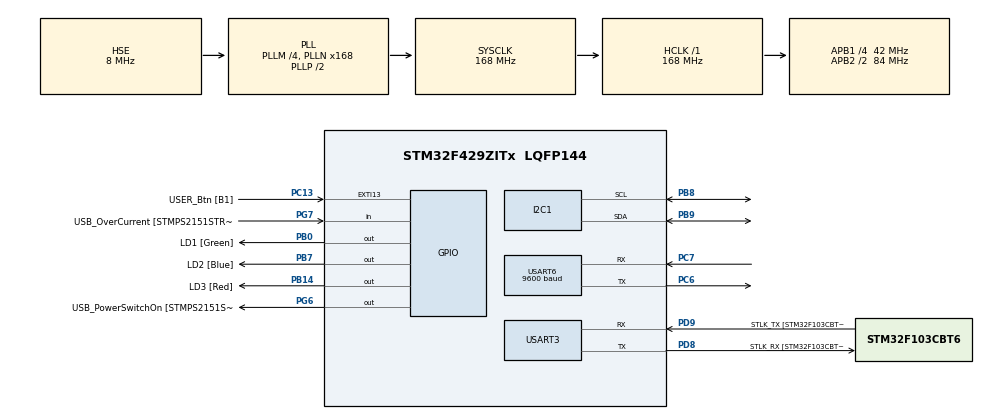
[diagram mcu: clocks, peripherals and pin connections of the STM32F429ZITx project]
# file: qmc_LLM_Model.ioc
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FREERTOS.Queues01=uartQueue01,16,uint16_t,0,Dynamic,NULL,NULL
FREERTOS.Tasks01=qmcTask_Init,24,128,qmcTask,Default,NULL,Dynamic,NULL,NULL;BTTask_Init,24,128,BTTask,Default,NULL,Dynamic,NULL,NULL
Mcu.Family=STM32F4
Mcu.Name=STM32F429ZITx
Mcu.Package=LQFP144
NVIC.I2C1_ER_IRQn=true\:5\:0\:false\:false\:true\:true\:true\:true\:true
NVIC.I2C1_EV_IRQn=true\:5\:0\:false\:false\:true\:true\:true\:true\:true
NVIC.PriorityGroup=NVIC_PRIORITYGROUP_4
NVIC.USART6_IRQn=true\:5\:0\:false\:false\:true\:true\:true\:true\:true
PA13.GPIO_Label=TMS
PA13.Mode=Serial_Wire
PA13.Signal=SYS_JTMS-SWDIO
PA14.GPIO_Label=TCK
PA14.Mode=Serial_Wire
PA14.Signal=SYS_JTCK-SWCLK
PB0.GPIO_Label=LD1 [Green]
PB0.Signal=GPIO_Output
PB13.GPIO_Label=RMII_TXD1 [LAN8742A-CZ-TR_TXD1]
PB13.Signal=ETH_TXD1
PB14.GPIO_Label=LD3 [Red]
PB14.Signal=GPIO_Output
PB7.GPIO_Label=LD2 [Blue]
PB7.Signal=GPIO_Output
PB8.Mode=I2C
PB8.Signal=I2C1_SCL
PB9.Mode=I2C
PB9.Signal=I2C1_SDA
PC13.GPIO_Label=USER_Btn [B1]
PC13.Signal=GPXTI13
PC14/OSC32_IN.Mode=LSE-External-Oscillator
PC14/OSC32_IN.Signal=RCC_OSC32_IN
PC15/OSC32_OUT.Mode=LSE-External-Oscillator
PC15/OSC32_OUT.Signal=RCC_OSC32_OUT
PC6.Mode=Asynchronous
PC6.Signal=USART6_TX
PC7.Mode=Asynchronous
PC7.Signal=USART6_RX
PD8.GPIO_Label=STLK_RX [STM32F103CBT6_PA3]
PD8.Mode=Asynchronous
PD8.Signal=USART3_TX
PD9.GPIO_Label=STLK_TX [STM32F103CBT6_PA2]
PD9.Mode=Asynchronous
PD9.Signal=USART3_RX
PG6.GPIO_Label=USB_PowerSwitchOn [STMPS2151STR_EN]
PG6.Signal=GPIO_Output
PG7.GPIO_Label=USB_OverCurrent [STMPS2151STR_FAULT]
PG7.Signal=GPIO_Input
PH0/OSC_IN.GPIO_Label=MCO [STM32F103CBT6_PA8]
PH0/OSC_IN.Mode=HSE-External-Clock-Source
PH0/OSC_IN.Signal=RCC_OSC_IN
PH1/OSC_OUT.Mode=HSE-External-Clock-Source
PH1/OSC_OUT.Signal=RCC_OSC_OUT
ProjectManager.HeapSize=0x200
ProjectManager.StackSize=0x400
ProjectManager.TargetToolchain=STM32CubeIDE
RCC.48MHZClocksFreq_Value=48000000
RCC.AHBFreq_Value=168000000
RCC.APB1CLKDivider=RCC_HCLK_DIV4
RCC.APB1Freq_Value=42000000
RCC.APB1TimFreq_Value=84000000
RCC.APB2CLKDivider=RCC_HCLK_DIV2
RCC.APB2Freq_Value=84000000
RCC.APB2TimCLKDivider=2
RCC.APB2TimFreq_Value=168000000
RCC.CortexFreq_Value=168000000
RCC.HCLKFreq_Value=168000000
RCC.HSE_VALUE=8000000
RCC.HSI_VALUE=16000000
RCC.PLLM=4
RCC.PLLMUL=RCC_PLL_MUL9
RCC.PLLN=168
RCC.PLLQ=7
RCC.PLLSourceVirtual=RCC_PLLSOURCE_HSE
RCC.PRESCALERUSB=RCC_USBCLKSOURCE_PLL_DIV1_5
RCC.SYSCLKFreq_VALUE=168000000
RCC.SYSCLKSource=RCC_SYSCLKSOURCE_PLLCLK
RCC.SYSCLKSourceVirtual=RCC_SYSCLKSOURCE_PLLCLK
RCC.USBFreq_Value=48000000
RCC.VCOOutputFreq_Value=336000000
USART3.VirtualMode=VM_ASYNC
USART6.BaudRate=9600
USART6.VirtualMode=VM_ASYNC
VP_FREERTOS_VS_CMSIS_V2.Mode=CMSIS_V2
board=NUCLEO-F429ZI

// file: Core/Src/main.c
/* USER CODE BEGIN Header */
/**
  ******************************************************************************
  * @file           : main.c
  * @brief          : Main program body
  ******************************************************************************
  * @attention
  *
  * Copyright (c) 2025 STMicroelectronics.
  * All rights reserved.
  *
  * This software is licensed under terms that can be found in the LICENSE file
  * in the root directory of this software component.
  * If no LICENSE file comes with this software, it is provided AS-IS.
  *
  ******************************************************************************
  */
/* USER CODE END Header */
#include "main.h"
#include "cmsis_os.h"

/* USER CODE BEGIN PD */
#define DEV_ADDR (0x0D << 1)
#define DATA_OUT 0x00

#define QMC_CONT 0x09

#define QMC_SR 0x0B

#define QMC_STA 0x06

int16_t X_OUT,Y_OUT,Z_OUT;

uint8_t data[6];

char buf[256];
/* USER CODE END PD */

I2C_HandleTypeDef hi2c1;

UART_HandleTypeDef huart3;
UART_HandleTypeDef huart6;

/* Definitions for qmcTask_Init */
osThreadId_t qmcTask_InitHandle;
const osThreadAttr_t qmcTask_Init_attributes = {
  .name = "qmcTask_Init",
  .stack_size = 128 * 4,
  .priority = (osPriority_t) osPriorityNormal,
};
/* Definitions for BTTask_Init */
osThreadId_t BTTask_InitHandle;
const osThreadAttr_t BTTask_Init_attributes = {
  .name = "BTTask_Init",
  .stack_size = 128 * 4,
  .priority = (osPriority_t) osPriorityNormal,
};
/* Definitions for uartQueue01 */
osMessageQueueId_t uartQueue01Handle;
const osMessageQueueAttr_t uartQueue01_attributes = {
  .name = "uartQueue01"
};

void SystemClock_Config(void);
static void MX_GPIO_Init(void);
static void MX_USART3_UART_Init(void);
static void MX_I2C1_Init(void);
static void MX_USART6_UART_Init(void);
void qmcTask(void *argument);
void BTTask(void *argument);

/* USER CODE BEGIN 0 */
void QMC_init(void){
	uint8_t reset;

	reset = 0x1D;
	HAL_I2C_Mem_Write(&hi2c1,DEV_ADDR,QMC_CONT,1,&reset,1,1000);

	reset = 0x01;
	HAL_I2C_Mem_Write(&hi2c1,DEV_ADDR,QMC_SR,1,&reset,1,1000);

}

void QMC_Read(void){
	uint8_t flag;
	HAL_I2C_Mem_Read(&hi2c1,DEV_ADDR,QMC_STA,1,&flag,1,1000);
	if(flag & 0x01){
		HAL_I2C_Mem_Read_IT(&hi2c1,DEV_ADDR,DATA_OUT,1,data,6);
	}
}

void HAL_I2C_MemRxCpltCallback(I2C_HandleTypeDef *hi2c)
{
	if(hi2c->Instance == I2C1){
		 X_OUT = (int16_t)(data[1] << 8)|data[0];
	     Y_OUT = (int16_t)(data[3] << 8)|data[2];
	     Z_OUT = (int16_t)(data[5] << 8)|data[4];

	}
}
/* USER CODE END 0 */

int main(void)
{

  /* MCU Configuration--------------------------------------------------------*/

  /* Reset of all peripherals, Initializes the Flash interface and the Systick. */
  HAL_Init();

  /* Configure the system clock */
  SystemClock_Config();

  /* Initialize all configured peripherals */
  MX_GPIO_Init();
  MX_USART3_UART_Init();
  MX_I2C1_Init();
  MX_USART6_UART_Init();

  /* Init scheduler */
  osKernelInitialize();

  /* Create the queue(s) */
  /* creation of uartQueue01 */
  uartQueue01Handle = osMessageQueueNew (16, sizeof(buf), &uartQueue01_attributes);

  /* Create the thread(s) */
  /* creation of qmcTask_Init */
  qmcTask_InitHandle = osThreadNew(qmcTask, NULL, &qmcTask_Init_attributes);

  /* creation of BTTask_Init */
  BTTask_InitHandle = osThreadNew(BTTask, NULL, &BTTask_Init_attributes);

  /* Start scheduler */
  osKernelStart();

  /* We should never get here as control is now taken by the scheduler */

  /* Infinite loop */
  while (1)
  {

  }
}

void SystemClock_Config(void)
{
  RCC_OscInitTypeDef RCC_OscInitStruct = {0};
  RCC_ClkInitTypeDef RCC_ClkInitStruct = {0};

  /** Configure the main internal regulator output voltage
  */
  __HAL_RCC_PWR_CLK_ENABLE();
  __HAL_PWR_VOLTAGESCALING_CONFIG(PWR_REGULATOR_VOLTAGE_SCALE1);

  /** Initializes the RCC Oscillators according to the specified parameters
  * in the RCC_OscInitTypeDef structure.
  */
  RCC_OscInitStruct.OscillatorType = RCC_OSCILLATORTYPE_HSE;
  RCC_OscInitStruct.HSEState = RCC_HSE_BYPASS;
  RCC_OscInitStruct.PLL.PLLState = RCC_PLL_ON;
  RCC_OscInitStruct.PLL.PLLSource = RCC_PLLSOURCE_HSE;
  RCC_OscInitStruct.PLL.PLLM = 4;
  RCC_OscInitStruct.PLL.PLLN = 168;
  RCC_OscInitStruct.PLL.PLLP = RCC_PLLP_DIV2;
  RCC_OscInitStruct.PLL.PLLQ = 7;
  if (HAL_RCC_OscConfig(&RCC_OscInitStruct) != HAL_OK)
  {
    Error_Handler();
  }

  /** Initializes the CPU, AHB and APB buses clocks
  */
  RCC_ClkInitStruct.ClockType = RCC_CLOCKTYPE_HCLK|RCC_CLOCKTYPE_SYSCLK
                              |RCC_CLOCKTYPE_PCLK1|RCC_CLOCKTYPE_PCLK2;
  RCC_ClkInitStruct.SYSCLKSource = RCC_SYSCLKSOURCE_PLLCLK;
  RCC_ClkInitStruct.AHBCLKDivider = RCC_SYSCLK_DIV1;
  RCC_ClkInitStruct.APB1CLKDivider = RCC_HCLK_DIV4;
  RCC_ClkInitStruct.APB2CLKDivider = RCC_HCLK_DIV2;

  if (HAL_RCC_ClockConfig(&RCC_ClkInitStruct, FLASH_LATENCY_5) != HAL_OK)
  {
    Error_Handler();
  }
}

static void MX_I2C1_Init(void)
{

  hi2c1.Instance = I2C1;
  hi2c1.Init.ClockSpeed = 100000;
  hi2c1.Init.DutyCycle = I2C_DUTYCYCLE_2;
  hi2c1.Init.OwnAddress1 = 0;
  hi2c1.Init.AddressingMode = I2C_ADDRESSINGMODE_7BIT;
  hi2c1.Init.DualAddressMode = I2C_DUALADDRESS_DISABLE;
  hi2c1.Init.OwnAddress2 = 0;
  hi2c1.Init.GeneralCallMode = I2C_GENERALCALL_DISABLE;
  hi2c1.Init.NoStretchMode = I2C_NOSTRETCH_DISABLE;
  if (HAL_I2C_Init(&hi2c1) != HAL_OK)
  {
    Error_Handler();
  }

  /** Configure Analogue filter
  */
  if (HAL_I2CEx_ConfigAnalogFilter(&hi2c1, I2C_ANALOGFILTER_ENABLE) != HAL_OK)
  {
    Error_Handler();
  }

  /** Configure Digital filter
  */
  if (HAL_I2CEx_ConfigDigitalFilter(&hi2c1, 0) != HAL_OK)
  {
    Error_Handler();
  }

}

static void MX_USART3_UART_Init(void)
{

  huart3.Instance = USART3;
  huart3.Init.BaudRate = 115200;
  huart3.Init.WordLength = UART_WORDLENGTH_8B;
  huart3.Init.StopBits = UART_STOPBITS_1;
  huart3.Init.Parity = UART_PARITY_NONE;
  huart3.Init.Mode = UART_MODE_TX_RX;
  huart3.Init.HwFlowCtl = UART_HWCONTROL_NONE;
  huart3.Init.OverSampling = UART_OVERSAMPLING_16;
  if (HAL_UART_Init(&huart3) != HAL_OK)
  {
    Error_Handler();
  }

}

static void MX_USART6_UART_Init(void)
{

  huart6.Instance = USART6;
  huart6.Init.BaudRate = 9600;
  huart6.Init.WordLength = UART_WORDLENGTH_8B;
  huart6.Init.StopBits = UART_STOPBITS_1;
  huart6.Init.Parity = UART_PARITY_NONE;
  huart6.Init.Mode = UART_MODE_TX_RX;
  huart6.Init.HwFlowCtl = UART_HWCONTROL_NONE;
  huart6.Init.OverSampling = UART_OVERSAMPLING_16;
  if (HAL_UART_Init(&huart6) != HAL_OK)
  {
    Error_Handler();
  }

}

static void MX_GPIO_Init(void)
{
  GPIO_InitTypeDef GPIO_InitStruct = {0};

  /* GPIO Ports Clock Enable */
  __HAL_RCC_GPIOC_CLK_ENABLE();
  __HAL_RCC_GPIOH_CLK_ENABLE();
  __HAL_RCC_GPIOB_CLK_ENABLE();
  __HAL_RCC_GPIOD_CLK_ENABLE();
  __HAL_RCC_GPIOG_CLK_ENABLE();
  __HAL_RCC_GPIOA_CLK_ENABLE();

  /*Configure GPIO pin Output Level */
  HAL_GPIO_WritePin(GPIOB, LD1_Pin|LD3_Pin|LD2_Pin, GPIO_PIN_RESET);

  /*Configure GPIO pin Output Level */
  HAL_GPIO_WritePin(USB_PowerSwitchOn_GPIO_Port, USB_PowerSwitchOn_Pin, GPIO_PIN_RESET);

  /*Configure GPIO pin : USER_Btn_Pin */
  GPIO_InitStruct.Pin = USER_Btn_Pin;
  GPIO_InitStruct.Mode = GPIO_MODE_IT_RISING;
  GPIO_InitStruct.Pull = GPIO_NOPULL;
  HAL_GPIO_Init(USER_Btn_GPIO_Port, &GPIO_InitStruct);

  /*Configure GPIO pins : LD1_Pin LD3_Pin LD2_Pin */
  GPIO_InitStruct.Pin = LD1_Pin|LD3_Pin|LD2_Pin;
  GPIO_InitStruct.Mode = GPIO_MODE_OUTPUT_PP;
  GPIO_InitStruct.Pull = GPIO_NOPULL;
  GPIO_InitStruct.Speed = GPIO_SPEED_FREQ_LOW;
  HAL_GPIO_Init(GPIOB, &GPIO_InitStruct);

  /*Configure GPIO pin : RMII_TXD1_Pin */
  GPIO_InitStruct.Pin = RMII_TXD1_Pin;
  GPIO_InitStruct.Mode = GPIO_MODE_AF_PP;
  GPIO_InitStruct.Pull = GPIO_NOPULL;
  GPIO_InitStruct.Speed = GPIO_SPEED_FREQ_VERY_HIGH;
  GPIO_InitStruct.Alternate = GPIO_AF11_ETH;
  HAL_GPIO_Init(RMII_TXD1_GPIO_Port, &GPIO_InitStruct);

  /*Configure GPIO pin : USB_PowerSwitchOn_Pin */
  GPIO_InitStruct.Pin = USB_PowerSwitchOn_Pin;
  GPIO_InitStruct.Mode = GPIO_MODE_OUTPUT_PP;
  GPIO_InitStruct.Pull = GPIO_NOPULL;
  GPIO_InitStruct.Speed = GPIO_SPEED_FREQ_LOW;
  HAL_GPIO_Init(USB_PowerSwitchOn_GPIO_Port, &GPIO_InitStruct);

  /*Configure GPIO pin : USB_OverCurrent_Pin */
  GPIO_InitStruct.Pin = USB_OverCurrent_Pin;
  GPIO_InitStruct.Mode = GPIO_MODE_INPUT;
  GPIO_InitStruct.Pull = GPIO_NOPULL;
  HAL_GPIO_Init(USB_OverCurrent_GPIO_Port, &GPIO_InitStruct);

}

void qmcTask(void *argument)
{
  /* USER CODE BEGIN 5 *   */
	QMC_init();

  /* Infinite loop */
  for(;;)
  {
	  QMC_Read();
	  osDelay(10);
	  sprintf(buf,"%d %d %d\r\n",X_OUT,Y_OUT,Z_OUT);
	  osMessageQueuePut(uartQueue01Handle,buf,0,0);
	  osDelay(5000);
  }
  /* USER CODE END 5 */
}

void BTTask(void *argument)
{
  /* USER CODE BEGIN BTTask */
  /* Infinite loop */
  for(;;)
  {
	  if (osMessageQueueGet(uartQueue01Handle, buf, NULL, osWaitForever) == osOK) {
		  HAL_UART_Transmit(&huart6, (uint8_t*)buf, strlen(buf), 0xFFFF);
	  }
  }
  /* USER CODE END BTTask */
}

void Error_Handler(void)
{
  __disable_irq();
  while (1)
  {
  }
}
